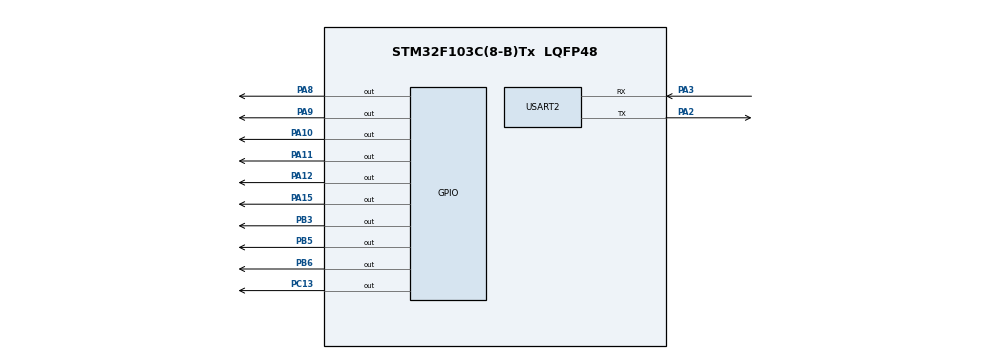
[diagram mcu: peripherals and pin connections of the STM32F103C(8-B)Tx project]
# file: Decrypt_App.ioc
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Mcu.Family=STM32F1
Mcu.Name=STM32F103C(8-B)Tx
Mcu.Package=LQFP48
NVIC.PriorityGroup=NVIC_PRIORITYGROUP_4
PA10.Signal=GPIO_Output
PA11.Signal=GPIO_Output
PA12.Signal=GPIO_Output
PA13.Mode=Serial_Wire
PA13.Signal=SYS_JTMS-SWDIO
PA14.Mode=Serial_Wire
PA14.Signal=SYS_JTCK-SWCLK
PA15.Signal=GPIO_Output
PA2.Mode=Asynchronous
PA2.Signal=USART2_TX
PA3.Mode=Asynchronous
PA3.Signal=USART2_RX
PA8.Signal=GPIO_Output
PA9.Signal=GPIO_Output
PB3.Signal=GPIO_Output
PB5.Signal=GPIO_Output
PB6.Signal=GPIO_Output
PC13-TAMPER-RTC.Signal=GPIO_Output
PD0-OSC_IN.Mode=HSE-External-Oscillator
PD0-OSC_IN.Signal=RCC_OSC_IN
PD1-OSC_OUT.Mode=HSE-External-Oscillator
PD1-OSC_OUT.Signal=RCC_OSC_OUT
ProjectManager.HeapSize=0x200
ProjectManager.StackSize=0x400
ProjectManager.TargetToolchain=STM32CubeIDE
RCC.APB1Freq_Value=8000000
RCC.APB2Freq_Value=8000000
TIM1.Period=0xffff-1
TIM1.Prescaler=8-1
USART2.VirtualMode=VM_ASYNC
VP_TIM1_VS_ClockSourceINT.Mode=Internal
board=custom

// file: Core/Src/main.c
/* USER CODE BEGIN Header */
/**
 ******************************************************************************
 * @file           : main.c
 * @brief          : Main program body
 ******************************************************************************
 * @attention
 *
 * Copyright (c) 2024 STMicroelectronics.
 * All rights reserved.
 *
 * This software is licensed under terms that can be found in the LICENSE file
 * in the root directory of this software component.
 * If no LICENSE file comes with this software, it is provided AS-IS.
 *
 ******************************************************************************
 */
/* USER CODE END Header */
#include "main.h"
#include "tim.h"
#include "usart.h"
#include "gpio.h"

/* USER CODE BEGIN Includes */
#include "LCD1602.h"
#include "RC4.h"
/* USER CODE END Includes */

void SystemClock_Config(void);

/* USER CODE BEGIN 0 */
int row=0;
int col=0;
extern TIM_HandleTypeDef htim1;
extern UART_HandleTypeDef huart2;

unsigned char key[KEY_SIZE] = "ThisIsASecree";
unsigned char encrypted_message[16];
unsigned char decrypted_message[16];
/* USER CODE END 0 */

int main(void)
{

	/* MCU Configuration--------------------------------------------------------*/

	/* Reset of all peripherals, Initializes the Flash interface and the Systick. */
	HAL_Init();

	/* Configure the system clock */
	SystemClock_Config();

	/* Initialize all configured peripherals */
	MX_GPIO_Init();
	MX_TIM1_Init();
	MX_USART2_UART_Init();
	/* USER CODE BEGIN 2 */
	HAL_TIM_Base_Start(&htim1);
	lcd_init ();

	/* Turn OFF the boot-loader LED */
	HAL_GPIO_WritePin(GPIOB, GPIO_PIN_5, GPIO_PIN_RESET);
	/* Turn ON the application LED */
	HAL_GPIO_WritePin(GPIOB, GPIO_PIN_6, GPIO_PIN_SET);

	/* USER CODE END 2 */

	/* Infinite loop */
	while (1)
	{

		/* USER CODE BEGIN 3 */

		/* Receive the encrypted message from ESP */
		HAL_UART_Receive(&huart2, encrypted_message, 16, HAL_MAX_DELAY);

		/* Decrypt the message (RC4 is symmetric, so the same function is used) */
		rc4_crypt(encrypted_message, 16, key, KEY_SIZE, decrypted_message);

		/* Print the decrypted message on LCD. */
		lcd_clear();
		lcd_put_cur(0, 0);
		lcd_send_string((char*)decrypted_message);
		HAL_Delay(1000);
	}
	/* USER CODE END 3 */
}

void SystemClock_Config(void)
{
	RCC_OscInitTypeDef RCC_OscInitStruct = {0};
	RCC_ClkInitTypeDef RCC_ClkInitStruct = {0};

	/** Initializes the RCC Oscillators according to the specified parameters
	 * in the RCC_OscInitTypeDef structure.
	 */
	RCC_OscInitStruct.OscillatorType = RCC_OSCILLATORTYPE_HSI;
	RCC_OscInitStruct.HSIState = RCC_HSI_ON;
	RCC_OscInitStruct.HSICalibrationValue = RCC_HSICALIBRATION_DEFAULT;
	RCC_OscInitStruct.PLL.PLLState = RCC_PLL_NONE;
	if (HAL_RCC_OscConfig(&RCC_OscInitStruct) != HAL_OK)
	{
		Error_Handler();
	}

	/** Initializes the CPU, AHB and APB buses clocks
	 */
	RCC_ClkInitStruct.ClockType = RCC_CLOCKTYPE_HCLK|RCC_CLOCKTYPE_SYSCLK
			|RCC_CLOCKTYPE_PCLK1|RCC_CLOCKTYPE_PCLK2;
	RCC_ClkInitStruct.SYSCLKSource = RCC_SYSCLKSOURCE_HSI;
	RCC_ClkInitStruct.AHBCLKDivider = RCC_SYSCLK_DIV1;
	RCC_ClkInitStruct.APB1CLKDivider = RCC_HCLK_DIV1;
	RCC_ClkInitStruct.APB2CLKDivider = RCC_HCLK_DIV1;

	if (HAL_RCC_ClockConfig(&RCC_ClkInitStruct, FLASH_LATENCY_0) != HAL_OK)
	{
		Error_Handler();
	}
}

void Error_Handler(void)
{
	__disable_irq();
	while (1)
	{
	}
}
